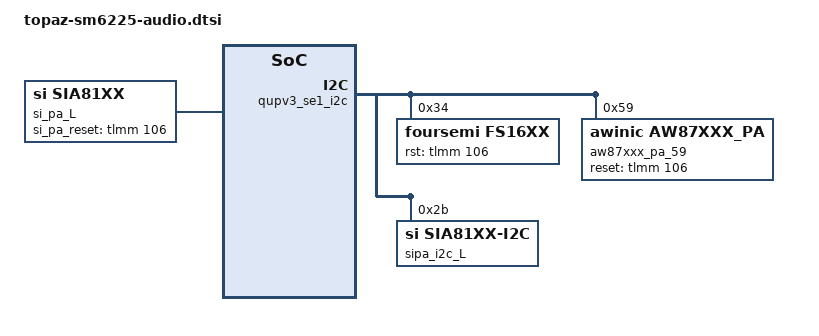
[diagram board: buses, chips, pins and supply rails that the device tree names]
&soc {
	si_pa_L: si_pa_L {
		owi_mode = <1>;
		channel_num = <0>;
		timer_task_hdl = <0>;
		si,si_pa_disable_pin = <1>;
		si,si_pa_reset = <&tlmm 106 0x00>;
		si,si_pa_type = "sia81x9";
		compatible = "si,sia81xx";
	};
};

&qupv3_se1_i2c {
	fs16xx@34 {
		status = "okay";
		compatible = "foursemi,fs16xx";
		reg = <0x34>;
		fsm,rst-gpio = <&tlmm 106 0x00>;
	};

	aw87xxx_pa_59@59 {
		status = "okay";
		compatible = "awinic,aw87xxx_pa";
		dev_index = <0>;
		aw-rx-port-id = <45106>;
		reset-gpio = <&tlmm 106 0x00>;
		reg = <0x59>;
	};

	sipa_i2c_L: sipa_i2c_L@2b {
		compatible = "si,sia81xx-i2c";
		si,sipa-dev = <&si_pa_L>;
		reg = <0x2b>;
	};
};

&wcd937x_codec {
    qcom,cdc-micbias1-mv = <2700>;
    qcom,cdc-micbias2-mv = <2700>;
    qcom,cdc-micbias3-mv = <2700>;
};

&bengal_snd {
    si,sia81xx-aux-devs-prefix = "SpkrMonoL";
    si,sia81xx-aux-devs = <&si_pa_L>;
    si,sia81xx-max-num = <1>;
    qcom,wsa-max-devs = <0>;

	asoc-codec  = <&stub_codec>, <&bolero_cdc>,
			<&wcd937x_codec>;
	asoc-codec-names = "msm-stub-codec.1", "bolero-codec",
			"wcd937x_codec";

    qcom,audio-routing =
    	"AMIC1", "Analog Mic1",
    	"AMIC1", "MIC BIAS1",
    	"AMIC2", "Analog Mic2",
    	"AMIC2", "MIC BIAS2",
    	"AMIC3", "Analog Mic3",
    	"AMIC3", "MIC BIAS3",
    	"TX DMIC0", "Digital Mic0",
    	"TX DMIC0", "MIC BIAS1",
    	"TX DMIC1", "Digital Mic1",
    	"TX DMIC1", "MIC BIAS1",
    	"TX DMIC2", "Digital Mic2",
    	"TX DMIC2", "MIC BIAS3",
    	"TX DMIC3", "Digital Mic3",
    	"TX DMIC3", "MIC BIAS3",
    	"IN1_HPHL", "HPHL_OUT",
    	"IN2_HPHR", "HPHR_OUT",
    	"IN3_AUX", "AUX_OUT",
    	"RX_TX DEC0_INP", "TX DEC0 MUX",
    	"RX_TX DEC1_INP", "TX DEC1 MUX",
    	"RX_TX DEC2_INP", "TX DEC2 MUX",
    	"RX_TX DEC3_INP", "TX DEC3 MUX",
    	"TX SWR_INPUT", "WCD_TX_OUTPUT",
    	"VA SWR_INPUT", "VA_SWR_CLK",
    	"VA SWR_INPUT", "WCD_TX_OUTPUT",
    	"TX_AIF1 CAP", "VA_SWR_CLK",
    	"TX_AIF2 CAP", "VA_SWR_CLK",
    	"TX_AIF3 CAP", "VA_SWR_CLK";
};

&wsa881x-i2c-codec@e {
    status = "disable";
};

&wsa881x-i2c-codec@44 {
    status = "disable";
};

&msm_cdc_pinctrl@106 {
    status = "disable";
};

&wsa_ana_clk {
    status = "disable";
};
